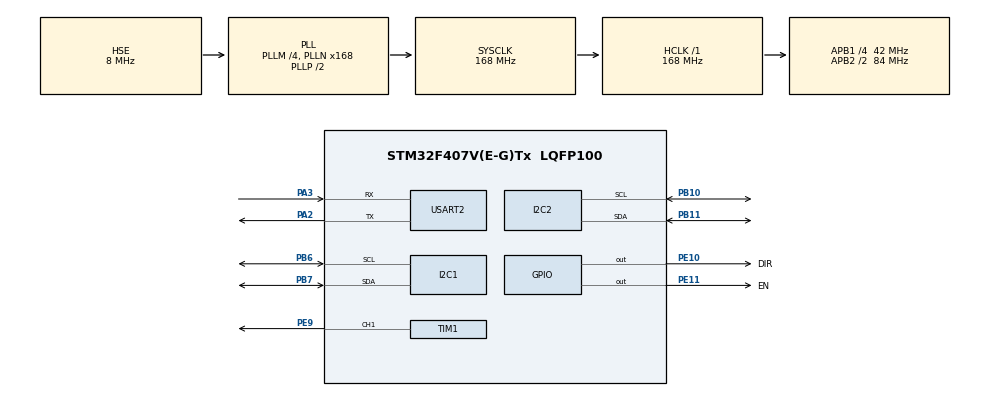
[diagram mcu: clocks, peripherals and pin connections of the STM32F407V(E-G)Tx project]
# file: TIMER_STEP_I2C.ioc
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Mcu.Family=STM32F4
Mcu.Name=STM32F407V(E-G)Tx
Mcu.Package=LQFP100
NVIC.PriorityGroup=NVIC_PRIORITYGROUP_4
NVIC.TIM1_CC_IRQn=true\:0\:0\:false\:false\:true\:true\:true\:true
PA13.Mode=Serial_Wire
PA13.Signal=SYS_JTMS-SWDIO
PA14.Mode=Serial_Wire
PA14.Signal=SYS_JTCK-SWCLK
PA2.Mode=Asynchronous
PA2.Signal=USART2_TX
PA3.Mode=Asynchronous
PA3.Signal=USART2_RX
PB10.Mode=I2C
PB10.Signal=I2C2_SCL
PB11.Mode=I2C
PB11.Signal=I2C2_SDA
PB6.Mode=I2C
PB6.Signal=I2C1_SCL
PB7.Mode=I2C
PB7.Signal=I2C1_SDA
PE10.GPIO_Label=DIR
PE10.Signal=GPIO_Output
PE11.GPIO_Label=EN
PE11.Signal=GPIO_Output
PE9.Signal=S_TIM1_CH1
PH0-OSC_IN.Mode=HSE-External-Oscillator
PH0-OSC_IN.Signal=RCC_OSC_IN
PH1-OSC_OUT.Mode=HSE-External-Oscillator
PH1-OSC_OUT.Signal=RCC_OSC_OUT
ProjectManager.HeapSize=0x200
ProjectManager.StackSize=0x400
ProjectManager.TargetToolchain=MDK-ARM V5.32
RCC.48MHZClocksFreq_Value=84000000
RCC.AHBFreq_Value=168000000
RCC.APB1CLKDivider=RCC_HCLK_DIV4
RCC.APB1Freq_Value=42000000
RCC.APB1TimFreq_Value=84000000
RCC.APB2CLKDivider=RCC_HCLK_DIV2
RCC.APB2Freq_Value=84000000
RCC.APB2TimFreq_Value=168000000
RCC.CortexFreq_Value=168000000
RCC.HCLKFreq_Value=168000000
RCC.HSE_VALUE=8000000
RCC.HSI_VALUE=16000000
RCC.PLLM=4
RCC.PLLN=168
RCC.PLLSourceVirtual=RCC_PLLSOURCE_HSE
RCC.SYSCLKFreq_VALUE=168000000
RCC.SYSCLKSource=RCC_SYSCLKSOURCE_PLLCLK
RCC.VCOOutputFreq_Value=336000000
SH.S_TIM1_CH1.0=TIM1_CH1,Output Compare1 CH1
TIM1.Channel-Output\ Compare1\ CH1=TIM_CHANNEL_1
TIM1.Channel-Output\ Compare2\ No\ Output=TIM_CHANNEL_2
TIM1.Channel-Output\ Compare3\ No\ Output=TIM_CHANNEL_3
TIM1.OCMode_1=TIM_OCMODE_TOGGLE
TIM1.OCMode_3=TIM_OCMODE_ACTIVE
TIM1.Period=10000-1
TIM1.Prescaler=8400-1
USART2.VirtualMode=VM_ASYNC
VP_TIM1_VS_ClockSourceINT.Mode=Internal
VP_TIM1_VS_no_output2.Mode=Output Compare2 No Output
VP_TIM1_VS_no_output3.Mode=Output Compare3 No Output
board=custom

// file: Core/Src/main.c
/* USER CODE BEGIN Header */
/**
  ******************************************************************************
  * @file           : main.c
  * @brief          : Main program body
  ******************************************************************************
  * @attention
  *
  * Copyright (c) 2023 STMicroelectronics.
  * All rights reserved.
  *
  * This software is licensed under terms that can be found in the LICENSE file
  * in the root directory of this software component.
  * If no LICENSE file comes with this software, it is provided AS-IS.
  *
  ******************************************************************************
  */
/* USER CODE END Header */
#include "main.h"
#include "i2c.h"
#include "tim.h"
#include "usart.h"
#include "gpio.h"

/* USER CODE BEGIN Includes */
#include "i2c-lcd.h"
#include <stdio.h>
/* USER CODE END Includes */

/* USER CODE BEGIN PV */
typedef struct
{
	int giay;
	int phut;
	int gio;
	int timer;

}
time_thai;

time_thai time;

char buffer[20];
	int fputc(int ch, FILE * f)
	{
		HAL_UART_Transmit( & huart2, (uint8_t * ) & ch, 1, HAL_MAX_DELAY);
		return ch;
	}

/* USER CODE END PV */

void SystemClock_Config(void);

/* USER CODE BEGIN 0 */
void HAL_TIM_OC_DelayElapsedCallback(TIM_HandleTypeDef *htim)
{
	 if(htim->Channel == HAL_TIM_ACTIVE_CHANNEL_1)
   {
		 //printf("TIM_1 OC HAL_TIM_ACTIVE_CHANNEL_1  \r\n" );
		 static int dem =0;
		 dem++;
		 if(dem==2000)
		 {

			 HAL_GPIO_WritePin(EN_GPIO_Port, EN_Pin, GPIO_PIN_SET);
		 }
		 else if (dem==2400)
		 {
			 HAL_GPIO_WritePin(EN_GPIO_Port, EN_Pin, GPIO_PIN_RESET);
			 HAL_GPIO_TogglePin(DIR_GPIO_Port, DIR_Pin);
			 dem=0;
		 }

	 }
	////////////////////////////////////////////////////
	  if(htim->Channel == HAL_TIM_ACTIVE_CHANNEL_3)
		{
			  time.timer=time.timer+1;
//			printf("TIM_1 OC HAL_TIM_ACTIVE_CHANNEL_3 \r\n" );
//				printf("gia tri timer : %d\r\n",time.timer);
				if(time.timer==200)
				{	time.timer=0;
					time.giay++;
				}

		}

  /* Prevent unused argument(s) compilation warning */
  UNUSED(htim);

  /* NOTE : This function should not be modified, when the callback is needed,
            the HAL_TIM_PeriodElapsedCallback could be implemented in the user file
   */
}

/* USER CODE END 0 */

int main(void)
{

  /* MCU Configuration--------------------------------------------------------*/

  /* Reset of all peripherals, Initializes the Flash interface and the Systick. */
  HAL_Init();

  /* Configure the system clock */
  SystemClock_Config();

  /* Initialize all configured peripherals */
  MX_GPIO_Init();
  MX_I2C1_Init();
  MX_TIM1_Init();
  MX_I2C2_Init();
  MX_USART2_UART_Init();
  /* USER CODE BEGIN 2 */
	lcd_init();
	HAL_TIM_OC_Start_IT(&htim1,TIM_CHANNEL_1);
	HAL_TIM_OC_Start_IT(&htim1,TIM_CHANNEL_3);

  /* USER CODE END 2 */

  /* Infinite loop */
  /* USER CODE BEGIN WHILE */
	HAL_GPIO_WritePin(DIR_GPIO_Port, DIR_Pin, GPIO_PIN_SET);
  HAL_GPIO_WritePin(EN_GPIO_Port, EN_Pin, GPIO_PIN_RESET);

  while (1)
  {
    /* USER CODE END WHILE */

    /* USER CODE BEGIN 3 */

				if(time.giay==60)
				{
					time.giay=0;
					time.phut++;
					if(time.phut==60)
					{
						time.phut=0;
						time.gio++;
						if(time.gio==24)
						{
							time.gio=0;
						}
					}
				}

				printf("%d:%d:%d \r\n",time.gio,time.phut,time.giay );

  }
  /* USER CODE END 3 */
}

void SystemClock_Config(void)
{
  RCC_OscInitTypeDef RCC_OscInitStruct = {0};
  RCC_ClkInitTypeDef RCC_ClkInitStruct = {0};

  /** Configure the main internal regulator output voltage
  */
  __HAL_RCC_PWR_CLK_ENABLE();
  __HAL_PWR_VOLTAGESCALING_CONFIG(PWR_REGULATOR_VOLTAGE_SCALE1);

  /** Initializes the RCC Oscillators according to the specified parameters
  * in the RCC_OscInitTypeDef structure.
  */
  RCC_OscInitStruct.OscillatorType = RCC_OSCILLATORTYPE_HSE;
  RCC_OscInitStruct.HSEState = RCC_HSE_ON;
  RCC_OscInitStruct.PLL.PLLState = RCC_PLL_ON;
  RCC_OscInitStruct.PLL.PLLSource = RCC_PLLSOURCE_HSE;
  RCC_OscInitStruct.PLL.PLLM = 4;
  RCC_OscInitStruct.PLL.PLLN = 168;
  RCC_OscInitStruct.PLL.PLLP = RCC_PLLP_DIV2;
  RCC_OscInitStruct.PLL.PLLQ = 4;
  if (HAL_RCC_OscConfig(&RCC_OscInitStruct) != HAL_OK)
  {
    Error_Handler();
  }

  /** Initializes the CPU, AHB and APB buses clocks
  */
  RCC_ClkInitStruct.ClockType = RCC_CLOCKTYPE_HCLK|RCC_CLOCKTYPE_SYSCLK
                              |RCC_CLOCKTYPE_PCLK1|RCC_CLOCKTYPE_PCLK2;
  RCC_ClkInitStruct.SYSCLKSource = RCC_SYSCLKSOURCE_PLLCLK;
  RCC_ClkInitStruct.AHBCLKDivider = RCC_SYSCLK_DIV1;
  RCC_ClkInitStruct.APB1CLKDivider = RCC_HCLK_DIV4;
  RCC_ClkInitStruct.APB2CLKDivider = RCC_HCLK_DIV2;

  if (HAL_RCC_ClockConfig(&RCC_ClkInitStruct, FLASH_LATENCY_5) != HAL_OK)
  {
    Error_Handler();
  }
}

void Error_Handler(void)
{
  __disable_irq();
  while (1)
  {
  }
}
